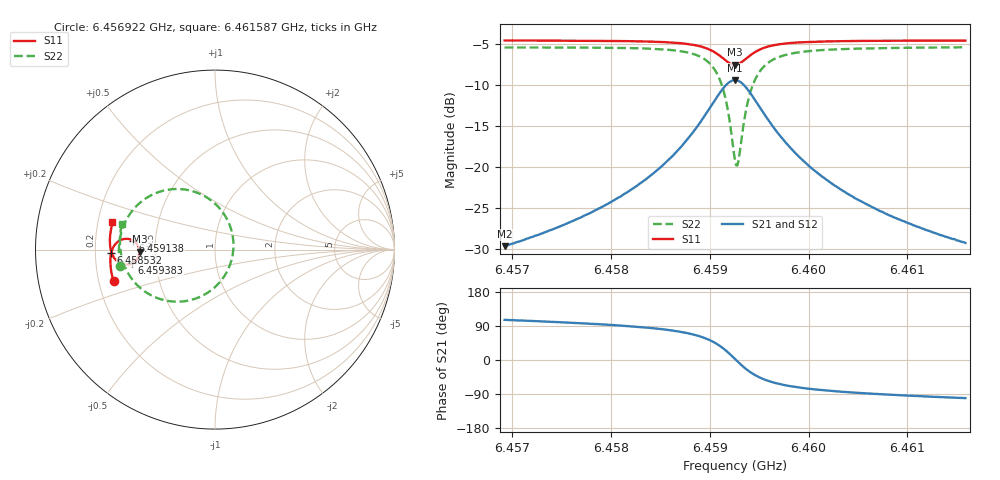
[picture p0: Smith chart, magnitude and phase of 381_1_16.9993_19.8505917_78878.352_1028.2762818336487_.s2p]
#  HZ  S  RI  R  50.00
! Rohde & Schwarz Vector Network Analyzer
! Rohde-Schwarz,ZNB20-2Port,1311601062101988,3.16
! Created: UTC 3/20/2024, 11:09:08 PM
! freq[Hz]  re:S11  im:S11  re:S21  im:S21  re:S12  im:S12  re:S22  im:S22
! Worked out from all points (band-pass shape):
!   401 points, 6.456922 GHz to 6.461587 GHz, reference 50 ohm
!   highest |S21| = -9.38 dB at 6.459255 GHz (marker M1); lowest = -29.6 dB at 6.456922 GHz (marker M2)
!   |S21| within 3 dB of the highest: 6.459022 GHz to 6.459488 GHz (466.7 kHz wide, 0.00723 % of centre)
!   lowest |S11| = -7.5 dB at 6.459255 GHz (marker M3), VSWR 2.45, Z = 20.4 - j0.568 ohm
!   |S11| at or under -10 dB: nowhere
!   |S22| runs from -19.8 to -5.4 dB; largest |S21 - S12| = 0.013
!   S11 on the Smith chart (normalised r, x): 6.456922 GHz: 0.26, -0.14; 6.458532 GHz: 0.27, -0.01; 6.459138 GHz: 0.37, +0.05; 6.459383 GHz: 0.36, -0.07; 6.461587 GHz: 0.26, +0.12
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6.4569225e9  -0.5653 -0.1765  -0.00912 0.0318  -0.00734 0.0318  -0.5292 -0.0892
6.4577038e9  -0.58 -0.1085  -0.00591 0.0494  -0.00344 0.0489  -0.5356 0.000774
6.4581236e9  -0.5832 -0.0669  -0.000381 0.0682  0.00279 0.0667  -0.5287 0.0658
6.4584851e9  -0.5798 -0.0242  0.0134 0.0972  0.0172 0.0946  -0.5038 0.1452
6.4585318e9  -0.5784 -0.0179  0.0165 0.1025  0.0206 0.0996  -0.4977 0.1583
6.4587417e9  -0.5665 0.0139  0.0422 0.1339  0.0463 0.1293  -0.4499 0.2294
6.4588933e9  -0.5457 0.0401  0.084 0.164  0.0875 0.1575  -0.3729 0.2934
6.4590449e9  -0.5001 0.06  0.1746 0.183  0.1755 0.1757  -0.2079 0.3378
6.4591382e9  -0.4563 0.0502  0.263 0.1526  0.2634 0.1468  -0.044 0.2895
6.4591848e9  -0.4353 0.0318  0.3063 0.1109  0.3075 0.1056  0.0378 0.2151
6.4592548e9  -0.4206 -0.0115  0.3394 0.0159  0.343 0.00881  0.1026 0.0392
6.4592665e9  -0.421 -0.0193  0.3393 -0.00166  0.343 -0.00922  0.1025 0.00637
6.4592898e9  -0.4244 -0.0347  0.3339 -0.0359  0.3377 -0.0448  0.0922 -0.0583
6.4593364e9  -0.4397 -0.0603  0.3064 -0.0949  0.3083 -0.1065  0.0363 -0.1698
6.4593831e9  -0.4613 -0.0763  0.2652 -0.1355  0.2644 -0.1484  -0.0464 -0.2437
6.4594764e9  -0.5041 -0.083  0.1819 -0.1667  0.176 -0.178  -0.2117 -0.2903
6.459628e9  -0.5473 -0.0627  0.0955 -0.1536  0.0872 -0.1596  -0.3766 -0.2429
6.4597912e9  -0.5685 -0.0351  0.051 -0.1265  0.0437 -0.1291  -0.4562 -0.1721
6.4600361e9  -0.5812 0.000396  0.0223 -0.0954  0.0166 -0.0963  -0.5039 -0.0911
6.460386e9  -0.5856 0.0416  0.00629 -0.069  0.00233 -0.0688  -0.5255 -0.0129
6.4608175e9  -0.5835 0.0847  -0.00123 -0.0509  -0.00417 -0.0502  -0.5297 0.055
6.4615871e9  -0.5711 0.1525  -0.00636 -0.034  -0.00805 -0.0331  -0.5184 0.1448
